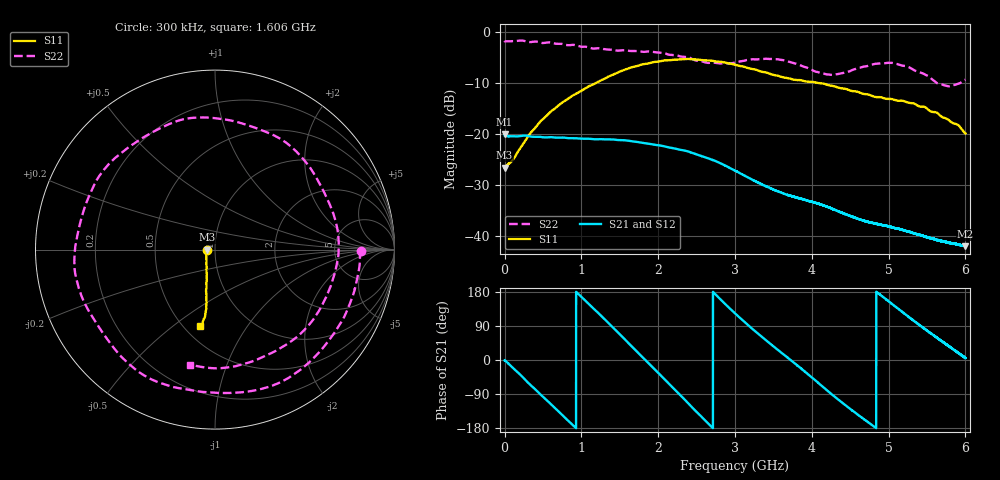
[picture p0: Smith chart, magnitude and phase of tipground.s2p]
!  8/6/2020  04:02:56
! Ref Plane: 0.000 mm
# MHZ S MA R  50
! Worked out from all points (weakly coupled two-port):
!   10001 points, 300 kHz to 6 GHz, reference 50 ohm
!   highest |S21| = -20.08 dB at 300 kHz (marker M1); lowest = -42.0 dB at 5.993 GHz (marker M2)
!   lowest |S11| = -26.6 dB at 300 kHz (marker M3), VSWR 1.10, Z = 45.6 - j0.0541 ohm
!   |S11| at or under -10 dB: start of sweep to 1.193 GHz; 4.078618 GHz to 4.079451 GHz (832.9 kHz wide, 0.0204 % of centre); 4.08 GHz to end of sweep
!   |S22| runs from -10.7 to -1.7 dB; largest |S21 - S12| = 0.0031
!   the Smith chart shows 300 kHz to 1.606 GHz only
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0.3  0.04653 -179.3  0.09908 -0.8  0.09595 -0.9  0.813 -0.5
287.6856  0.09043 -122.6  0.09593 -56.2  0.09621 -56.3  0.8031 -83.9
586.4707  0.1613 -107.0  0.09276 -113.2  0.09318 -113.3  0.79 -169.5
819.2591  0.2188 -102.6  0.091 -158.6  0.09132 -158.7  0.7417 123.8
1000.45  0.2647 -100.3  0.08981 166.5  0.08994 166.5  0.7152 72.7
1254.837  0.3352 -98.4  0.08869 117.1  0.08897 117.0  0.6887 -1.4
1539.223  0.4195 -99.7  0.08673 60.0  0.08701 59.8  0.6603 -84.0
1786.411  0.4796 -103.4  0.08196 9.3  0.08229 9.3  0.6404 -151.4
2000.6  0.5111 -106.7  0.07736 -34.0  0.07768 -34.1  0.6286 152.9
2253.787  0.5352 -111.0  0.07078 -85.9  0.07118 -86.0  0.5866 87.7
2541.773  0.5325 -115.6  0.06135 -145.3  0.06148 -145.3  0.5225 7.3
2782.961  0.5105 -118.6  0.05259 165.6  0.05269 165.7  0.4925 -65.8
3000.15  0.4769 -120.3  0.0436 123.1  0.04367 123.1  0.5014 -131.7
3231.139  0.4326 -120.9  0.03537 81.3  0.03536 81.2  0.5394 166.4
3519.724  0.376 -118.5  0.02806 32.9  0.02801 32.8  0.542 95.5
4000.3  0.3243 -109.5  0.02155 -45.9  0.02156 -45.8  0.4244 -29.3
4222.889  0.2996 -107.5  0.01902 -84.2  0.019 -84.6  0.3819 -101.4
4486.876  0.2682 -103.6  0.01585 -127.0  0.01587 -127.1  0.4095 174.7
5000.45  0.22 -94.3  0.0124 154.9  0.0124 154.7  0.4978 47.0
5506.825  0.1754 -88.3  0.009716 76.4  0.00968 76.9  0.3723 -76.4
5993.4  0.1017 -82.5  0.007925 6.5  0.008023 6.4  0.3386 119.0
6000  0.1009 -82.8  0.007939 5.2  0.007978 4.9  0.3404 117.1
